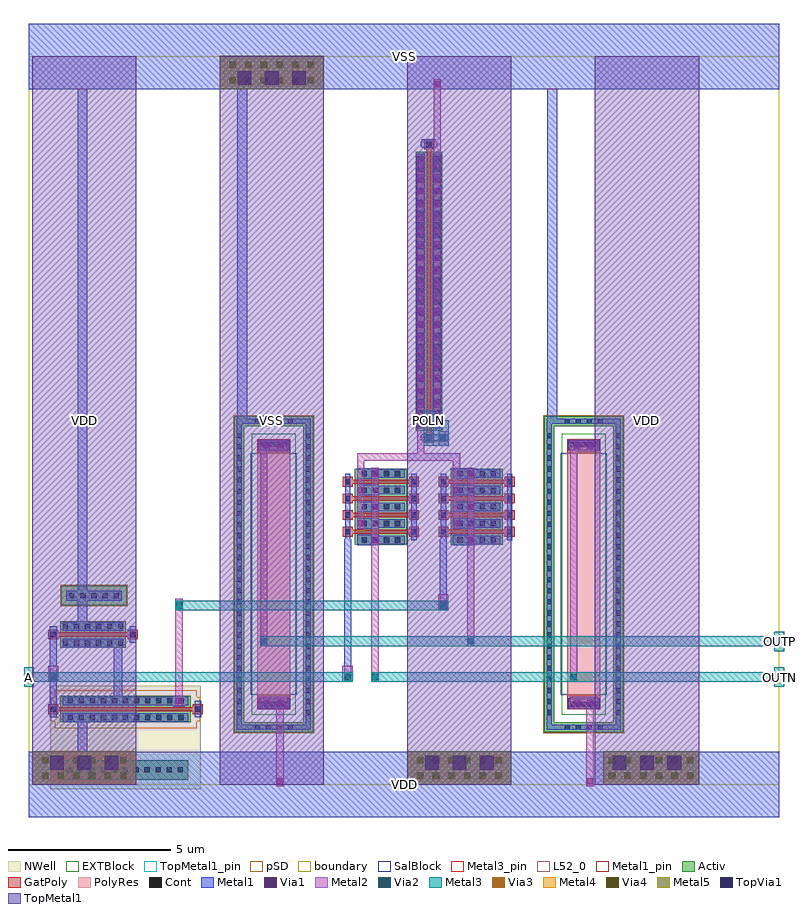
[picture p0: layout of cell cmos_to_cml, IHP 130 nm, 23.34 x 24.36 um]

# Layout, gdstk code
from math import pi, radians
import gdstk
lib = gdstk.Library(unit=1e-6, precision=1e-09)
def R(c, l, rs):  # rectangles x0, y0, x1, y1
    for r in rs: c.add(gdstk.rectangle(r[:2], r[2:], *l))
def A(c, l, x, y, w, h, nx, ny, dx, dy):  # array of equal rectangles
    R(c, l, [(x+i*dx, y+j*dy, x+i*dx+w, y+j*dy+h) for i in range(nx) for j in range(ny)])
Activ = (1, 0)
GatPoly = (5, 0)
Cont = (6, 0)
Metal1 = (8, 0)
Metal1_pin = (8, 2)
Metal2 = (10, 0)
pSD = (14, 0)
Via1 = (19, 0)
SalBlock = (28, 0)
Via2 = (29, 0)
Metal3 = (30, 0)
Metal3_pin = (30, 2)
NWell = (31, 0)
Via3 = (49, 0)
Metal4 = (50, 0)
L52_0 = (52, 0)
Via4 = (66, 0)
Metal5 = (67, 0)
EXTBlock = (111, 0)
TopVia1 = (125, 0)
TopMetal1 = (126, 0)
TopMetal1_pin = (126, 2)
PolyRes = (128, 0)
boundary = (189, 4)

sg13_lv_nmos_58fpxy = lib.new_cell('sg13_lv_nmos_58FPXY')
R(sg13_lv_nmos_58fpxy, Activ, [(-0.405,-4.285,0.405,4.285)])
R(sg13_lv_nmos_58fpxy, GatPoly, [(-0.15,-4.655,0.15,-4.355), (-0.065,-4.355,0.065,4.355), (-0.15,4.355,0.15,4.655)])
A(sg13_lv_nmos_58fpxy, Cont, -0.335, -4.16, 0.16, 0.16, 1, 25, 0, 0.34)
A(sg13_lv_nmos_58fpxy, Cont, 0.175, -4.16, 0.16, 0.16, 1, 25, 0, 0.34)
R(sg13_lv_nmos_58fpxy, Cont, [(-0.08,-4.585,0.08,-4.425), (-0.08,4.425,0.08,4.585)])
R(sg13_lv_nmos_58fpxy, Metal1, [(-0.255,-4.585,0.255,-4.425), (-0.385,-4.215,-0.125,4.215), (0.125,-4.215,0.385,4.215), (-0.255,4.425,0.255,4.585)])
sg13_lv_nmos_58fpxy.add(gdstk.Label('D', (-0.255,0), layer=8, texttype=25))
sg13_lv_nmos_58fpxy.add(gdstk.Label('S', (0.255,0), layer=8, texttype=25))
sg13_lv_nmos_58fpxy.add(gdstk.Label('G', (0,4.505), layer=8, texttype=25))

rppd_w2kase = lib.new_cell('rppd_W2KASE')
R(rppd_w2kase, Activ, [(-1.21,-4.85,1.21,-4.55), (-1.21,-4.55,-0.91,4.55), (0.91,-4.55,1.21,4.55), (-1.21,4.55,1.21,4.85)])
R(rppd_w2kase, GatPoly, [(-0.5,-4.14,0.5,-3.71), (-0.5,3.71,0.5,4.14)])
A(rppd_w2kase, Cont, -0.59, -4.78, 0.16, 0.16, 4, 2, 0.34, 9.4)
A(rppd_w2kase, Cont, -1.14, -4.33, 0.16, 0.16, 1, 26, 0, 0.34)
A(rppd_w2kase, Cont, 0.98, -4.33, 0.16, 0.16, 1, 26, 0, 0.34)
R(rppd_w2kase, Cont, [(-0.43,-4.07,0.43,-3.91), (-0.43,3.91,0.43,4.07)])
R(rppd_w2kase, Metal1, [(-1.14,-4.78,1.14,-4.62), (-1.14,-4.62,-0.98,4.62), (0.98,-4.62,1.14,4.62), (-0.48,-4.12,0.48,-3.805), (-0.48,3.805,0.48,4.12), (-1.14,4.62,1.14,4.78)])
R(rppd_w2kase, Metal2, [(-0.43,-4.135,0.43,-3.765), (-0.43,3.765,0.43,4.135)])
R(rppd_w2kase, pSD, [(-1.24,-4.88,1.24,4.88)])
R(rppd_w2kase, Via1, [(-0.3,-4.045,-0.11,-3.855), (0.11,-4.045,0.3,-3.855), (-0.3,3.855,-0.11,4.045), (0.11,3.855,0.3,4.045)])
R(rppd_w2kase, SalBlock, [(-0.7,-3.71,0.7,3.71)])
R(rppd_w2kase, L52_0, [(-0.5,-3.71,0.5,3.71)])
R(rppd_w2kase, EXTBlock, [(-0.68,-4.32,0.68,4.32)])
R(rppd_w2kase, PolyRes, [(-0.5,-3.71,0.5,3.71)])
R(rppd_w2kase, boundary, [(-1.06,-4.7,1.06,4.7)])
rppd_w2kase.add(gdstk.Label('B', (0,-4.7), layer=8, texttype=25))
rppd_w2kase.add(gdstk.Label('R1', (0,3.99), layer=8, texttype=25))
rppd_w2kase.add(gdstk.Label('R2', (0,-3.99), layer=8, texttype=25))

sg13_lv_pmos_x7j6wz = lib.new_cell('sg13_lv_pmos_X7J6WZ')
R(sg13_lv_pmos_x7j6wz, Activ, [(-0.405,-2,0.405,2)])
R(sg13_lv_pmos_x7j6wz, GatPoly, [(-0.15,-2.37,0.15,-2.07), (-0.065,-2.07,0.065,2.07), (-0.15,2.07,0.15,2.37)])
A(sg13_lv_pmos_x7j6wz, Cont, -0.335, -1.78, 0.16, 0.16, 1, 11, 0, 0.34)
A(sg13_lv_pmos_x7j6wz, Cont, 0.175, -1.78, 0.16, 0.16, 1, 11, 0, 0.34)
R(sg13_lv_pmos_x7j6wz, Cont, [(-0.08,-2.3,0.08,-2.14), (-0.08,2.14,0.08,2.3)])
R(sg13_lv_pmos_x7j6wz, Metal1, [(-0.255,-2.3,0.255,-2.14), (-0.385,-1.93,-0.125,1.93), (0.125,-1.93,0.385,1.93), (-0.255,2.14,0.255,2.3)])
R(sg13_lv_pmos_x7j6wz, pSD, [(-0.365,-2.3,0.365,-2.18), (-0.585,-2.18,0.585,2.18), (-0.365,2.18,0.365,2.3)])
R(sg13_lv_pmos_x7j6wz, NWell, [(-0.715,-2.31,0.715,2.31)])
sg13_lv_pmos_x7j6wz.add(gdstk.Label('D', (-0.255,0), layer=8, texttype=25))
sg13_lv_pmos_x7j6wz.add(gdstk.Label('S', (0.255,0), layer=8, texttype=25))
sg13_lv_pmos_x7j6wz.add(gdstk.Label('G', (0,2.22), layer=8, texttype=25))

sg13_lv_nmos_jjsydv = lib.new_cell('sg13_lv_nmos_JJSYDV')
R(sg13_lv_nmos_jjsydv, Activ, [(-0.405,-1,0.405,1)])
R(sg13_lv_nmos_jjsydv, GatPoly, [(-0.15,-1.37,0.15,-1.07), (-0.065,-1.07,0.065,1.07), (-0.15,1.07,0.15,1.37)])
A(sg13_lv_nmos_jjsydv, Cont, -0.335, -0.93, 0.16, 0.16, 1, 6, 0, 0.34)
A(sg13_lv_nmos_jjsydv, Cont, 0.175, -0.93, 0.16, 0.16, 1, 6, 0, 0.34)
R(sg13_lv_nmos_jjsydv, Cont, [(-0.08,-1.3,0.08,-1.14), (-0.08,1.14,0.08,1.3)])
R(sg13_lv_nmos_jjsydv, Metal1, [(-0.255,-1.3,0.255,-1.14), (-0.385,-0.93,-0.125,0.93), (0.125,-0.93,0.385,0.93), (-0.255,1.14,0.255,1.3)])
sg13_lv_nmos_jjsydv.add(gdstk.Label('D', (-0.255,0), layer=8, texttype=25))
sg13_lv_nmos_jjsydv.add(gdstk.Label('S', (0.255,0), layer=8, texttype=25))
sg13_lv_nmos_jjsydv.add(gdstk.Label('G', (0,1.22), layer=8, texttype=25))

sg13_lv_nmos_mprqc6 = lib.new_cell('sg13_lv_nmos_MPRQC6')
R(sg13_lv_nmos_mprqc6, Activ, [(-1.17,-0.8,1.17,0.8)])
A(sg13_lv_nmos_mprqc6, GatPoly, -0.915, -1.17, 0.3, 0.3, 4, 2, 0.51, 2.04)
A(sg13_lv_nmos_mprqc6, GatPoly, -0.83, -0.87, 0.13, 1.74, 4, 1, 0.51, 0)
A(sg13_lv_nmos_mprqc6, Cont, -0.845, -1.1, 0.16, 0.16, 4, 2, 0.51, 2.04)
A(sg13_lv_nmos_mprqc6, Cont, -1.1, -0.59, 0.16, 0.16, 5, 4, 0.51, 0.34)
A(sg13_lv_nmos_mprqc6, Metal1, -1.15, -0.73, 0.26, 1.46, 5, 1, 0.51, 0)
R(sg13_lv_nmos_mprqc6, Metal1, [(-1.02,-1.1,1.02,-0.94), (-1.02,0.94,1.02,1.1)])
sg13_lv_nmos_mprqc6.add(gdstk.Label('G', (0.765,1.02), layer=8, texttype=25))
sg13_lv_nmos_mprqc6.add(gdstk.Label('G', (0.255,1.02), layer=8, texttype=25))
sg13_lv_nmos_mprqc6.add(gdstk.Label('G', (-0.255,1.02), layer=8, texttype=25))
sg13_lv_nmos_mprqc6.add(gdstk.Label('G', (-0.765,1.02), layer=8, texttype=25))
sg13_lv_nmos_mprqc6.add(gdstk.Label('D0', (-1.02,0), layer=8, texttype=25))
sg13_lv_nmos_mprqc6.add(gdstk.Label('S1', (-0.51,0), layer=8, texttype=25))
sg13_lv_nmos_mprqc6.add(gdstk.Label('D2', (0,0), layer=8, texttype=25))
sg13_lv_nmos_mprqc6.add(gdstk.Label('S3', (0.51,0), layer=8, texttype=25))

cmos_to_cml = lib.new_cell('cmos_to_cml')
R(cmos_to_cml, Activ, [(1,0.15,4.9,0.75), (1,5.5,3,6.1)])
A(cmos_to_cml, Cont, 1.17, 0.37, 0.16, 0.16, 11, 1, 0.34, 0)
A(cmos_to_cml, Cont, 1.24, 5.72, 0.16, 0.16, 5, 1, 0.34, 0)
A(cmos_to_cml, Metal1, 10.08, 7.35, 0.66, 0.32, 1, 5, 0, 0.51)
A(cmos_to_cml, Metal1, 13.02, 7.35, 0.66, 0.32, 1, 5, 0, 0.51)
A(cmos_to_cml, Metal1, 11.93, 11.16, 0.2, 0.2, 1, 20, 0, 0.41)
A(cmos_to_cml, Metal1, 12.44, 11.57, 0.2, 0.2, 1, 19, 0, 0.41)
R(cmos_to_cml, Metal1, [(0,-1,23.04,1), (1.5,1,1.8,2.19), (0.64,2.06,0.86,4.86), (5.09,2.06,5.29,2.57), (4.44,2.41,4.78,2.73), (2.6,2.44,2.86,4.48), (9.68,3.15,9.9,7.53), (3.09,4.35,3.29,4.86), (1.5,4.73,1.8,5.65), (12.62,5.35,12.84,7.53), (1.15,5.65,2.85,5.95), (1.5,5.95,1.8,21.36), (12.07,10.54,12.88,10.76), (6.4,11.08,6.7,21.36), (15.92,11.08,16.22,21.36), (12.07,19.55,12.5,19.82), (0,21.36,23.04,23.36)])
R(cmos_to_cml, Metal1_pin, [(0,-1,23.04,1), (0,21.36,23.04,23.36)])
R(cmos_to_cml, Metal2, [(7.6,-0.05,7.82,2.69), (17.12,-0.05,17.34,2.69), (0.1,0,3.3,1.02), (11.62,0,14.82,1.02), (17.64,0,20.58,1.02), (4.5,2.42,4.72,5.7), (0.6,3.15,0.9,3.65), (9.63,3.15,9.94,3.65), (10.52,3.15,10.74,9.73), (16.62,3.15,16.84,10.59), (7.1,4.25,7.32,10.59), (13.46,4.25,13.68,9.73), (12.57,5.35,12.88,5.85), (10.08,7.84,10.3,9.95), (13.02,7.84,13.24,9.95), (10.08,9.95,13.24,10.17), (11.92,10.17,12.14,19.33), (12.58,10.4,12.9,10.85), (12.43,11.3,12.65,21.66), (5.86,21.36,9.06,22.38)])
R(cmos_to_cml, pSD, [(0.97,5.47,3.03,6.13)])
A(cmos_to_cml, Via1, 0.405, 0.175, 0.19, 0.19, 6, 2, 0.48, 0.48)
A(cmos_to_cml, Via1, 11.925, 0.175, 0.19, 0.19, 6, 2, 0.48, 0.48)
A(cmos_to_cml, Via1, 17.815, 0.175, 0.19, 0.19, 6, 2, 0.48, 0.48)
A(cmos_to_cml, Via1, 10.535, 7.415, 0.19, 0.19, 1, 3, 0, 1.02)
A(cmos_to_cml, Via1, 13.475, 7.415, 0.19, 0.19, 1, 3, 0, 1.02)
A(cmos_to_cml, Via1, 11.935, 11.165, 0.19, 0.19, 1, 20, 0, 0.41)
A(cmos_to_cml, Via1, 12.445, 11.575, 0.19, 0.19, 1, 19, 0, 0.41)
A(cmos_to_cml, Via1, 6.165, 21.535, 0.19, 0.19, 6, 2, 0.48, 0.48)
R(cmos_to_cml, Via1, [(7.615,0.005,7.805,0.195), (17.135,0.005,17.325,0.195), (4.515,2.475,4.705,2.665), (0.655,3.205,0.845,3.395), (9.695,3.205,9.885,3.395), (12.635,5.405,12.825,5.595), (10.095,7.925,10.285,8.115), (13.035,7.925,13.225,8.115), (10.095,8.945,10.285,9.135), (13.035,8.945,13.225,9.135), (12.615,10.555,12.805,10.745), (12.445,21.415,12.635,21.605)])
A(cmos_to_cml, Via2, 0.405, 0.175, 0.19, 0.19, 6, 2, 0.48, 0.48)
A(cmos_to_cml, Via2, 11.925, 0.175, 0.19, 0.19, 6, 2, 0.48, 0.48)
A(cmos_to_cml, Via2, 17.815, 0.175, 0.19, 0.19, 6, 2, 0.48, 0.48)
A(cmos_to_cml, Via2, 6.165, 21.535, 0.19, 0.19, 6, 2, 0.48, 0.48)
R(cmos_to_cml, Via2, [(0.655,3.205,0.845,3.395), (9.695,3.205,9.885,3.395), (10.535,3.205,10.725,3.395), (16.635,3.205,16.825,3.395), (7.115,4.305,7.305,4.495), (13.475,4.305,13.665,4.495), (4.515,5.405,4.705,5.595), (12.635,5.405,12.825,5.595), (12.615,10.555,12.805,10.745)])
R(cmos_to_cml, Metal3, [(0.1,0,3.3,1.02), (11.62,0,14.82,1.02), (17.64,0,20.58,1.02), (-0.15,3,0.15,3.15), (22.89,3,23.19,3.15), (-0.15,3.15,9.94,3.45), (10.52,3.15,23.19,3.45), (-0.15,3.45,0.15,3.6), (22.89,3.45,23.19,3.6), (22.89,4.1,23.19,4.25), (7.1,4.25,23.19,4.55), (22.89,4.55,23.19,4.7), (4.5,5.35,12.88,5.65), (12.13,10.4,12.9,11.18), (12.13,11.18,12.43,11.48), (5.86,21.36,9.06,22.38)])
R(cmos_to_cml, Metal3_pin, [(-0.15,3,0.15,3.6), (22.89,3,23.19,3.6), (22.89,4.1,23.19,4.7), (12.13,10.88,12.43,11.48)])
R(cmos_to_cml, NWell, [(0.66,-0.15,5.28,3.03)])
A(cmos_to_cml, Via3, 0.405, 0.175, 0.19, 0.19, 6, 2, 0.48, 0.48)
A(cmos_to_cml, Via3, 11.925, 0.175, 0.19, 0.19, 6, 2, 0.48, 0.48)
A(cmos_to_cml, Via3, 17.815, 0.175, 0.19, 0.19, 6, 2, 0.48, 0.48)
A(cmos_to_cml, Via3, 6.165, 21.535, 0.19, 0.19, 6, 2, 0.48, 0.48)
R(cmos_to_cml, Metal4, [(0.1,0,3.3,1.02), (11.62,0,14.82,1.02), (17.64,0,20.58,1.02), (5.86,21.36,9.06,22.38)])
A(cmos_to_cml, Via4, 0.405, 0.175, 0.19, 0.19, 6, 2, 0.48, 0.48)
A(cmos_to_cml, Via4, 11.925, 0.175, 0.19, 0.19, 6, 2, 0.48, 0.48)
A(cmos_to_cml, Via4, 17.815, 0.175, 0.19, 0.19, 6, 2, 0.48, 0.48)
A(cmos_to_cml, Via4, 6.165, 21.535, 0.19, 0.19, 6, 2, 0.48, 0.48)
R(cmos_to_cml, Metal5, [(0.1,0,3.3,1.02), (11.62,0,14.82,1.02), (17.64,0,20.58,1.02), (5.86,21.36,9.06,22.38)])
A(cmos_to_cml, TopVia1, 0.65, 0.46, 0.42, 0.42, 3, 1, 0.84, 0)
A(cmos_to_cml, TopVia1, 12.17, 0.46, 0.42, 0.42, 3, 1, 0.84, 0)
A(cmos_to_cml, TopVia1, 17.93, 0.46, 0.42, 0.42, 3, 1, 0.84, 0)
A(cmos_to_cml, TopVia1, 6.41, 21.49, 0.42, 0.42, 3, 1, 0.84, 0)
A(cmos_to_cml, TopMetal1, 0.1, 0, 3.2, 22.36, 4, 1, 5.76, 0)
A(cmos_to_cml, TopMetal1_pin, 0.1, 0, 3.2, 22.36, 4, 1, 5.76, 0)
R(cmos_to_cml, boundary, [(0,0,23.04,22.36)])
cmos_to_cml.add(gdstk.Reference(sg13_lv_nmos_58fpxy, (12.285,15.155)))
cmos_to_cml.add(gdstk.Reference(rppd_w2kase, (7.52,6.46), rotation=pi))
cmos_to_cml.add(gdstk.Reference(rppd_w2kase, (17.04,6.46)))
cmos_to_cml.add(gdstk.Reference(sg13_lv_pmos_x7j6wz, (2.97,2.315), rotation=3*pi/2))
cmos_to_cml.add(gdstk.Reference(sg13_lv_nmos_jjsydv, (1.97,4.605), rotation=pi/2))
cmos_to_cml.add(gdstk.Reference(sg13_lv_nmos_mprqc6, (10.81,8.53), rotation=3*pi/2))
cmos_to_cml.add(gdstk.Reference(sg13_lv_nmos_mprqc6, (13.75,8.53), rotation=3*pi/2))
cmos_to_cml.add(gdstk.Label('VDD', (11.52,0), layer=8, texttype=25))
cmos_to_cml.add(gdstk.Label('VSS', (11.52,22.36), layer=8, texttype=25))
cmos_to_cml.add(gdstk.Label('A', (0,3.3), layer=30, texttype=25))
cmos_to_cml.add(gdstk.Label('OUTN', (23.04,3.3), layer=30, texttype=25))
cmos_to_cml.add(gdstk.Label('OUTP', (23.04,4.4), layer=30, texttype=25))
cmos_to_cml.add(gdstk.Label('POLN', (12.28,11.18), layer=30, texttype=25))
cmos_to_cml.add(gdstk.Label('VDD', (1.7,11.18), layer=126, texttype=25))
cmos_to_cml.add(gdstk.Label('VSS', (7.46,11.18), layer=126, texttype=25))
cmos_to_cml.add(gdstk.Label('VDD', (13.22,11.18), layer=126, texttype=25))
cmos_to_cml.add(gdstk.Label('VDD', (18.98,11.18), layer=126, texttype=25))

lib.write_gds('cmos_to_cml.gds')
